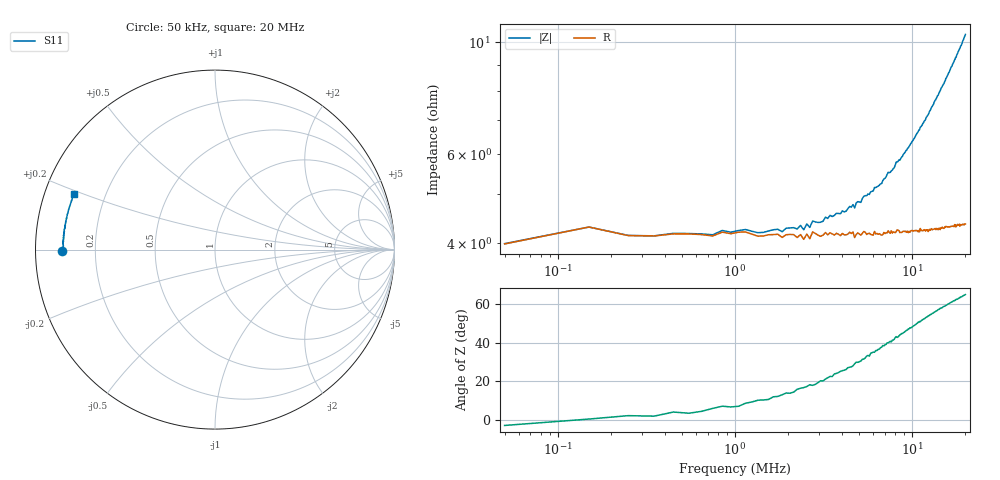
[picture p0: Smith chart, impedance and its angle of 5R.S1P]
!Keysight Technologies,E5063A,MY54100949,A.07.00
!Date: Tue Oct 17 15:43:59 2023
!Data & Calibration Information:
!Freq	S11:SOLT2(ON)
# Hz S RI R 50
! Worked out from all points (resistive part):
!   201 points, 50 kHz to 20 MHz, reference 50 ohm
!   read as one part to ground: R = 4.3 ohm at 149.8 kHz
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50000  -0.8523 -0.00694
149750  -0.8415 0.00107
249500  -0.8471 0.00539
349250  -0.8473 0.00474
449000  -0.8459 0.0101
548750  -0.846 0.00856
848000  -0.8447 0.0178
1047500  -0.8447 0.0177
1845500  -0.8477 0.0324
2344250  -0.8455 0.0418
2444000  -0.8485 0.0419
2543750  -0.845 0.0443
2643500  -0.8479 0.0459
2743250  -0.8436 0.0463
3042500  -0.8461 0.052
3242000  -0.8435 0.0554
4638500  -0.8416 0.0762
4738250  -0.8451 0.0779
5037500  -0.8423 0.0826
7531250  -0.8375 0.1224
7930250  -0.8361 0.1276
8129750  -0.8346 0.1341
8329250  -0.8338 0.134
1.0025e7  -0.8297 0.1603
1.251875e7  -0.8214 0.1984
1.50125e7  -0.8117 0.2356
1.750625e7  -0.8003 0.2716
2e7  -0.7861 0.3086
